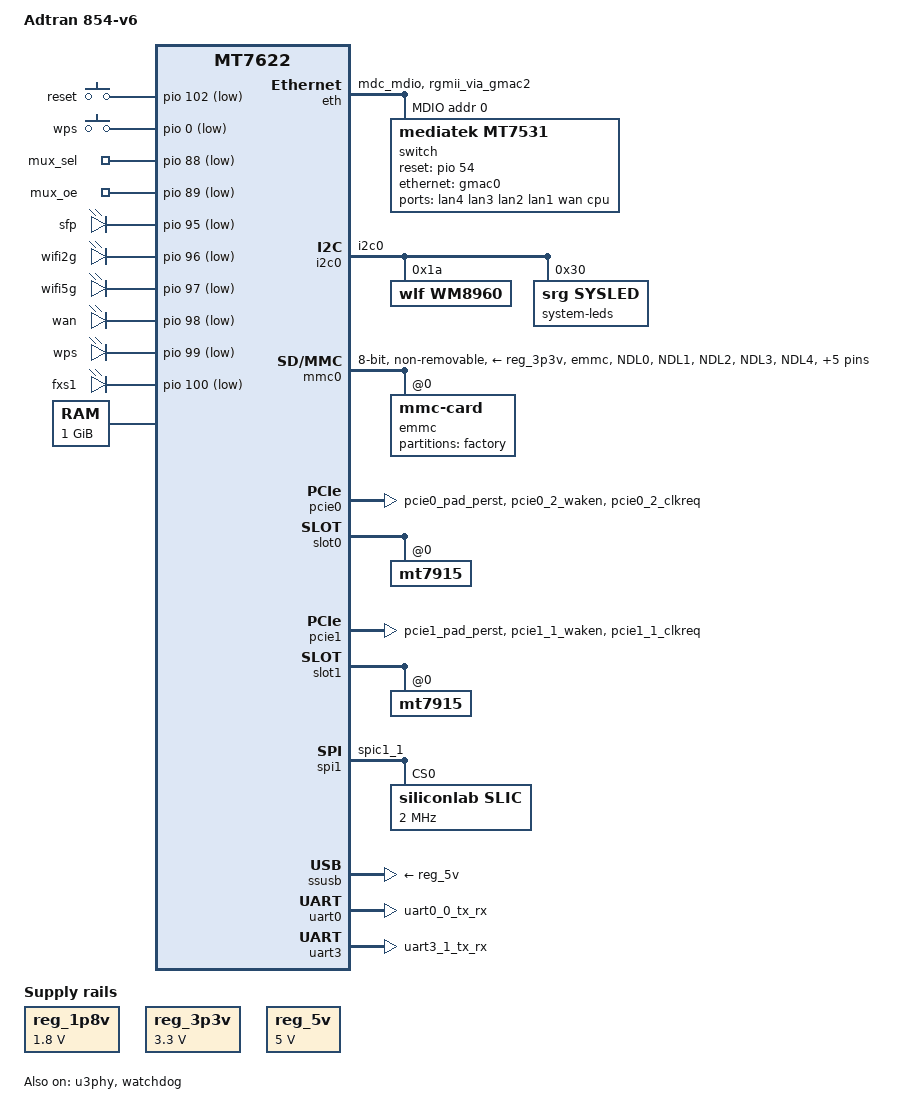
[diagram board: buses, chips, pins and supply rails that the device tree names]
/*
 * Copyright (c) 2018 MediaTek Inc.
 * Author: Ryder Lee <ryder.lee@mediatek.com>
 *
 * SPDX-License-Identifier: (GPL-2.0 OR MIT)
 */

/dts-v1/;
#include <dt-bindings/input/input.h>
#include <dt-bindings/gpio/gpio.h>

#include "mt7622.dtsi"
#include "mt6380.dtsi"

/ {
	model = "Adtran 854-v6";
	compatible = "smartrg,854-v6", "mediatek,mt7622";

	aliases {
		serial0 = &uart0;
	};

	chosen {
		stdout-path = "serial0:115200n8";
		bootargs = "earlycon=uart8250,mmio32,0x11002000 console=ttyS0,115200n1 swiotlb=512";
	};

	cpus {
		cpu@0 {
			proc-supply = <&mt6380_vcpu_reg>;
			sram-supply = <&mt6380_vm_reg>;
		};

		cpu@1 {
			proc-supply = <&mt6380_vcpu_reg>;
			sram-supply = <&mt6380_vm_reg>;
		};
	};

	gpio-keys {
		compatible = "gpio-keys";

		reset {
			label = "reset";
			linux,code = <KEY_RESTART>;
			gpios = <&pio 102 GPIO_ACTIVE_LOW>;
		};

		wps {
			label = "wps";
			linux,code = <KEY_WPS_BUTTON>;
			gpios = <&pio 0 GPIO_ACTIVE_LOW>;
		};
	};

	gpio-leds {
		compatible = "gpio-leds";

		mux_sel {
			label = "mux_sel";
			gpios = <&pio 88 GPIO_ACTIVE_LOW>;
			default-state = "on";
		};

		mux_oe {
			label = "mux_oe";
			gpios = <&pio 89 GPIO_ACTIVE_LOW>;
			default-state = "on";
		};

		sfp {
			label = "sfp";
			gpios = <&pio 95 GPIO_ACTIVE_LOW>;
			default-state = "off";
		};

		wifi2g {
			label = "wifi2g";
			gpios = <&pio 96 GPIO_ACTIVE_LOW>;
			linux,default-trigger = "phy0radio";
		};

		wifi5g {
			label = "wifi5g";
			gpios = <&pio 97 GPIO_ACTIVE_LOW>;
			linux,default-trigger = "phy1radio";
		};

		wan {
			label = "wan";
			gpios = <&pio 98 GPIO_ACTIVE_LOW>;
			linux,default-trigger = "dsa-0.0:05:link";
		};

		wps {
			label = "wps";
			gpios = <&pio 99 GPIO_ACTIVE_LOW>;
			default-state = "off";
		};

		fxs1 {
			label = "fxs1";
			gpios = <&pio 100 GPIO_ACTIVE_LOW>;
			default-state = "off";
		};
	};

	memory {
		reg = <0x0 0x40000000 0x0 0x40000000>;
	};

	reserved-memory {
		#address-cells = <2>;
		#size-cells = <2>;
		ranges;

		/delete-node/ramoops@0x42ff0000;

		bootdata_reserved: bootdata@45000000 {
			no-map;
			reg = <0x0 0x45000000 0x0 0x00001000>;
		};
		ramoops_reserved: ramoops1@45001000 {
			no-map;
			compatible = "ramoops";
			reg = <0x0 0x45001000 0x0 0x00140000>;
			ftrace-size = <0x20000>;
			record-size = <0x20000>;
			console-size = <0x20000>;
			pmsg-size = <0x80000>;
		};
	};

	bootdata {
		compatible = "bootdata";
		memory-region = <&bootdata_reserved>;
	};

	reg_1p8v: regulator-1p8v {
		compatible = "regulator-fixed";
		regulator-name = "fixed-1.8V";
		regulator-min-microvolt = <1800000>;
		regulator-max-microvolt = <1800000>;
		regulator-always-on;
	};

	reg_3p3v: regulator-3p3v {
		compatible = "regulator-fixed";
		regulator-name = "fixed-3.3V";
		regulator-min-microvolt = <3300000>;
		regulator-max-microvolt = <3300000>;
		regulator-boot-on;
		regulator-always-on;
	};

	reg_5v: regulator-5v {
		compatible = "regulator-fixed";
		regulator-name = "fixed-5V";
		regulator-min-microvolt = <5000000>;
		regulator-max-microvolt = <5000000>;
		regulator-boot-on;
		regulator-always-on;
	};

	sound: sound {
		compatible = "mediatek,mt2701-wm8960-machine";
		pinctrl-names = "default";
		pinctrl-0 = <&i2s1_pins>;
		mediatek,platform = <&afe>;
		mediatek,audio-codec = <&wm8960>;
		audio-routing =
			"Headphone", "HP_L",
			"Headphone", "HP_R",
			"LINPUT2", "AMIC",
			"RINPUT2", "AMIC";
	};
};

&eth {
	pinctrl-names = "default";
	pinctrl-0 = <&eth_pins>;
	status = "okay";

	gmac0: mac@0 {
		compatible = "mediatek,eth-mac";
		reg = <0>;
		phy-mode = "2500base-x";

		fixed-link {
			speed = <2500>;
			full-duplex;
			pause;
		};
	};

	mdio: mdio-bus {
		#address-cells = <1>;
		#size-cells = <0>;

		switch@0 {
			compatible = "mediatek,mt7531";
			reg = <0>;
			reset-gpios = <&pio 54 0>;

			ports {
				#address-cells = <1>;
				#size-cells = <0>;

				port@0 {
					reg = <0>;
					label = "lan4";
				};

				port@1 {
					reg = <1>;
					label = "lan3";
				};

				port@2 {
					reg = <2>;
					label = "lan2";
				};

				port@3 {
					reg = <3>;
					label = "lan1";
				};

				port@5 {
					reg = <5>;
					label = "wan";

					phy-mode = "2500base-x";

					compatible = "maxlinear,gpy211", "ethernet-phy-ieee802.3-c22";

					fixed-link {
						speed = <2500>;
						full-duplex;
						pause;
						extphy;
					};
				};

				port@6 {
					reg = <6>;
					label = "cpu";
					ethernet = <&gmac0>;
					phy-mode = "2500base-x";

					fixed-link {
						speed = <2500>;
						full-duplex;
						pause;
					};
				};
			};
		};
	};
};

&i2c0 {
	pinctrl-names = "default";
	pinctrl-0 = <&i2c0_pins>;
	status = "okay";

	wm8960: wm8960@1a {
		compatible = "wlf,wm8960";
		reg = <0x1a>;
	};

	system-leds {
		compatible = "srg,sysled";
		reg = <0x30>;

		system_red {
			label = "red";
			reg = <1>;
		};

		system_green {
			label = "green";
			reg = <2>;
		};

		system_blue {
			label = "blue";
			reg = <3>;
		};

		system_white {
			label = "white";
			reg = <4>;
		};
	};
};

&mmc0 {
	pinctrl-names = "default", "state_uhs";
	pinctrl-0 = <&emmc_pins_default>;
	pinctrl-1 = <&emmc_pins_uhs>;
	status = "okay";
	bus-width = <8>;
	max-frequency = <50000000>;
	cap-mmc-highspeed;
	mmc-hs200-1_8v;
	vmmc-supply = <&reg_3p3v>;
	vqmmc-supply = <&reg_1p8v>;
	assigned-clocks = <&topckgen CLK_TOP_MSDC30_0_SEL>;
	assigned-clock-parents = <&topckgen CLK_TOP_UNIV48M>;
	non-removable;

	emmc@0 {
		#address-cells = <1>;
		#size-cells = <1>;
		compatible = "mmc-card";
		reg = <0>;

		partitions {
			compatible = "fixed-partitions";
			#address-cells = <1>;
			#size-cells = <1>;

			emmc_factory: partition@1c0000 {
				label = "factory";
				reg = <0x01c0000 0x00100000>;
			};
		};
	};
};

&pcie0 {
	pinctrl-names = "default";
	pinctrl-0 = <&pcie0_pins>;
	status = "okay";
};

&slot0 {
	mt7915@0,0 {
		reg = <0x0000 0 0 0 0>;
		mediatek,mtd-eeprom = <&emmc_factory 0x0>;
		ieee80211-freq-limit = <2400000 2500000>;
	};
};

&pcie1 {
	pinctrl-names = "default";
	pinctrl-0 = <&pcie1_pins>;
	status = "okay";
};

&slot1 {
	mt7915@0,0 {
		reg = <0x0000 0 0 0 0>;
		mediatek,mtd-eeprom = <&emmc_factory 0x05000>;
		ieee80211-freq-limit = <5000000 6000000>;
	};
};

&pio {
	/* eMMC is shared pin with parallel NAND */
	emmc_pins_default: emmc-pins-default {
		mux {
			function = "emmc", "emmc_rst";
			groups = "emmc";
		};

		/* "NDL0","NDL1","NDL2","NDL3","NDL4","NDL5","NDL6","NDL7",
		 * "NRB","NCLE" pins are used as DAT0,DAT1,DAT2,DAT3,DAT4,
		 * DAT5,DAT6,DAT7,CMD,CLK for eMMC respectively
		 */
		conf-cmd-dat {
			pins = "NDL0", "NDL1", "NDL2",
			       "NDL3", "NDL4", "NDL5",
			       "NDL6", "NDL7", "NRB";
			input-enable;
			bias-pull-up;
		};

		conf-clk {
			pins = "NCLE";
			bias-pull-down;
		};
	};

	emmc_pins_uhs: emmc-pins-uhs {
		mux {
			function = "emmc";
			groups = "emmc";
		};

		conf-cmd-dat {
			pins = "NDL0", "NDL1", "NDL2",
			       "NDL3", "NDL4", "NDL5",
			       "NDL6", "NDL7", "NRB";
			input-enable;
			drive-strength = <4>;
			bias-pull-up;
		};

		conf-clk {
			pins = "NCLE";
			drive-strength = <4>;
			bias-pull-down;
		};
	};

	eth_pins: eth-pins {
		mux {
			function = "eth";
			groups = "mdc_mdio", "rgmii_via_gmac2";
		};
	};

	i2c0_pins: i2c0-pins {
		mux {
			function = "i2c";
			groups =  "i2c0";
		};
	};

	i2s1_pins: i2s1-pins {
		mux {
			function = "i2s";
			groups =  "i2s_out_mclk_bclk_ws",
				  "i2s1_in_data",
				  "i2s1_out_data";
		};

		conf {
			pins = "I2S1_IN", "I2S1_OUT", "I2S_BCLK",
			       "I2S_WS", "I2S_MCLK";
			drive-strength = <12>;
			bias-pull-down;
		};
	};

	pcie0_pins: pcie0-pins {
		mux {
			function = "pcie";
			groups = "pcie0_pad_perst",
				 "pcie0_2_waken",
				 "pcie0_2_clkreq";
		};
	};

	pcie1_pins: pcie1-pins {
		mux {
			function = "pcie";
			groups = "pcie1_pad_perst",
				 "pcie1_1_waken",
				 "pcie1_1_clkreq";
		};
	};

	pmic_bus_pins: pmic-bus-pins {
		mux {
			function = "pmic";
			groups = "pmic_bus";
		};
	};

	spic1_pins: spic1-pins {
		mux {
			function = "spi";
			groups = "spic1_1";
		};
	};

	uart0_pins: uart0-pins {
		mux {
			function = "uart";
			groups = "uart0_0_tx_rx" ;
		};
	};

	uart3_pins: uart3-pins {
		mux {
			function = "uart";
			groups = "uart3_1_tx_rx" ;
		};
	};

	watchdog_pins: watchdog-pins {
		mux {
			function = "watchdog";
			groups = "watchdog";
		};
	};
};

&pwrap {
	pinctrl-names = "default";
	pinctrl-0 = <&pmic_bus_pins>;
	status = "okay";
};

&spi1 {
	pinctrl-names = "default";
	pinctrl-0 = <&spic1_pins>;
	status = "okay";

	slic: slic@0 {
		compatible = "siliconlab,slic";
		reg = <0>;
		spi-max-frequency = <2000000>;
	};
};

&ssusb {
	vusb33-supply = <&reg_3p3v>;
	vbus-supply = <&reg_5v>;
	status = "okay";
};

&u3phy {
	status = "okay";
};

&uart0 {
	pinctrl-names = "default";
	pinctrl-0 = <&uart0_pins>;
	status = "okay";
};

&uart3 {
	pinctrl-names = "default";
	pinctrl-0 = <&uart3_pins>;
	status = "okay";

	/* MT7915 Bluetooth */
};

&watchdog {
	pinctrl-names = "default";
	pinctrl-0 = <&watchdog_pins>;
	status = "okay";
};
